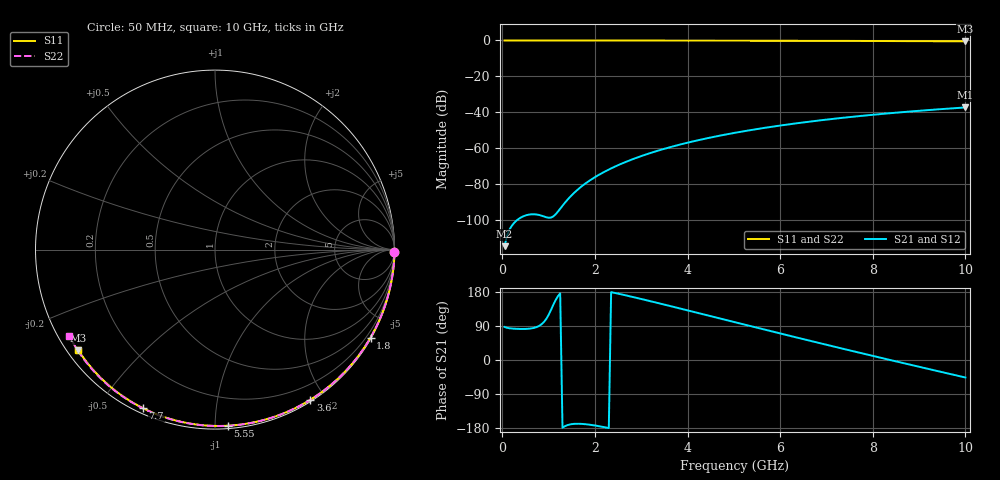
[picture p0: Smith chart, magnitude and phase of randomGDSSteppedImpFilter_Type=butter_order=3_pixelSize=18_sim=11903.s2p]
! freq	dB(S11)	phase(S11)	dB(S12)	phase(S12)
!  dB(S21)	phase(S21)	dB(S22)	phase(S22)
!S-par simulation data
#  GHz  S  DB  R 50
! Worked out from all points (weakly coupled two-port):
!   200 points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, 50 MHz to 10 GHz, reference 50 ohm
!   highest |S21| = -37.34 dB at 10 GHz (marker M1); lowest = -114.7 dB at 50 MHz (marker M2)
!   lowest |S11| = -0.5 dB at 10 GHz (marker M3), VSWR 35.81, Z = 1.55 - j16.5 ohm
!   |S11| at or under -10 dB: nowhere
!   |S22| runs from -0.5 to 0.0 dB; largest |S21 - S12| = 0
!   S11 on the Smith chart (normalised r, x): 50 MHz: open; 1.8 GHz: 0.03, -3.79; 3.6 GHz: 0.02, -1.82; 5.55 GHz: 0.02, -1.08; 7.7 GHz: 0.02, -0.64; 10 GHz: 0.03, -0.33
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0.05  -0.00 -0.8  -114.65 87.1  -114.65 87.1  -0.00 -0.9
0.45  -0.01 -7.5  -98.04 81.8  -98.04 81.8  -0.01 -7.8
0.9  -0.02 -14.9  -98.11 100.4  -98.11 100.4  -0.02 -15.4
1.3  -0.03 -21.4  -92.10 -178.7  -92.10 -178.7  -0.03 -22.2
1.75  -0.04 -28.7  -80.59 -168.9  -80.59 -168.9  -0.04 -29.7
1.8  -0.04 -29.5  -79.63 -169.5  -79.63 -169.5  -0.04 -30.5
1.95  -0.04 -31.9  -77.00 -171.9  -77.00 -171.9  -0.04 -33.0
2.1  -0.04 -34.3  -74.69 -174.9  -74.69 -174.9  -0.05 -35.5
2.3  -0.05 -37.5  -71.94 -179.6  -71.94 -179.6  -0.05 -38.8
2.5  -0.05 -40.7  -69.52 175.2  -69.52 175.2  -0.05 -42.0
2.9  -0.06 -46.9  -65.37 164.0  -65.37 164.0  -0.06 -48.5
3.4  -0.07 -54.6  -61.12 149.2  -61.12 149.2  -0.08 -56.4
3.6  -0.08 -57.6  -59.64 143.2  -59.64 143.2  -0.08 -59.6
4.3  -0.10 -68.0  -55.19 121.8  -55.19 121.8  -0.10 -70.3
5.05  -0.12 -78.8  -51.34 98.9  -51.34 98.9  -0.13 -81.5
5.55  -0.14 -85.8  -49.17 83.7  -49.17 83.7  -0.15 -88.8
6.1  -0.17 -93.3  -47.06 67.1  -47.06 67.1  -0.17 -96.6
6.7  -0.20 -101.4  -45.03 49.1  -45.03 49.1  -0.20 -105.0
7.7  -0.26 -114.4  -42.17 19.6  -42.17 19.6  -0.27 -118.6
8.35  -0.31 -122.7  -40.59 0.7  -40.59 0.7  -0.33 -127.3
9.2  -0.40 -133.5  -38.79 -23.6  -38.79 -23.6  -0.41 -138.7
10  -0.49 -143.5  -37.34 -46.2  -37.34 -46.2  -0.51 -149.5
